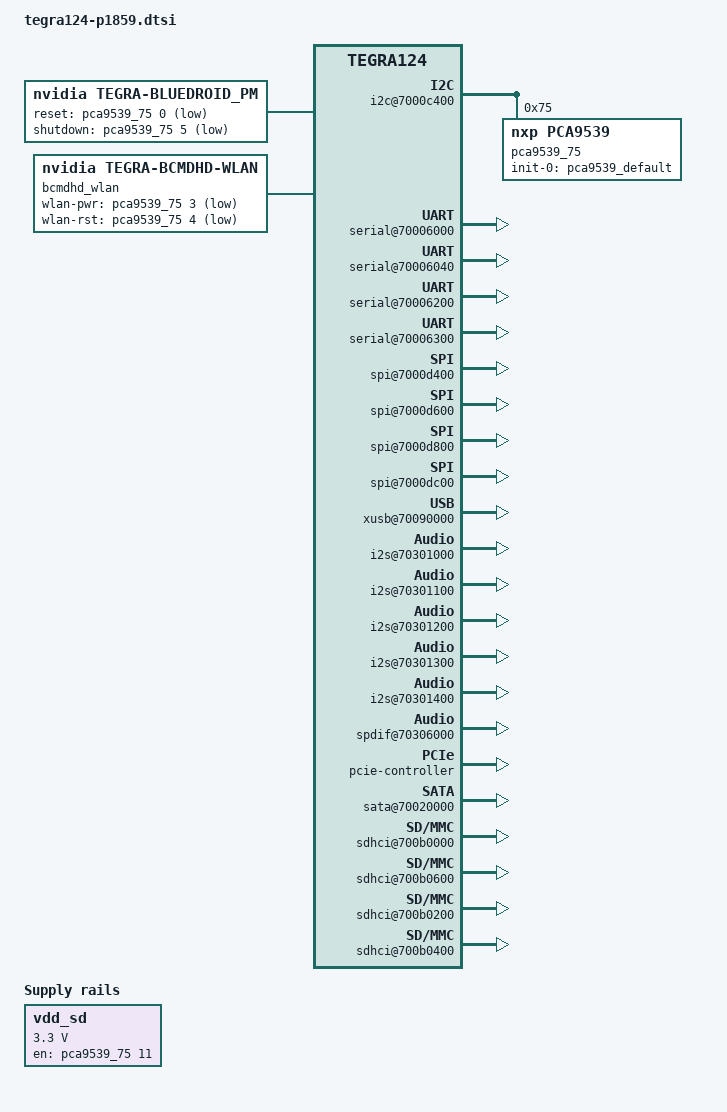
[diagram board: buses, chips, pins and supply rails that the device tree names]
/*
 * arch/arm/boot/dts/tegra124-p1859.dts
 *
 * Copyright (c) 2013-2014, NVIDIA CORPORATION.  All rights reserved.
 *
 * This program is free software; you can redistribute it and/or modify
 * it under the terms of the GNU General Public License as published by
 * the Free Software Foundation; version 2 of the License.
 *
 * This program is distributed in the hope that it will be useful, but WITHOUT
 * ANY WARRANTY; without even the implied warranty of MERCHANTABILITY or
 * FITNESS FOR A PARTICULAR PURPOSE.  See the GNU General Public License for
 * more details.
 *
 * You should have received a copy of the GNU General Public License along
 * with this program; if not, write to the Free Software Foundation, Inc.,
 * 51 Franklin Street, Fifth Floor, Boston, MA  02110-1301, USA.
 *
 */

/*
 * tegra124-p1859.dtsi is the board dtsi file representing the p1859
 * board. Since the same p1859 board is supported in multiple ways eg
 * ardbeg, virtual machines, p1859 linux etc, this file needs to be
 * included and then the required changes should be made in the
 * corresponding dts
 */

#include "tegra124-vcm30_t124.dtsi"
#include <tegra124-platforms/tegra124-p1859-gpio-default.dtsi>
#include <tegra124-platforms/tegra124-p1859-pinmux.dtsi>
#include <panel-a-edp-1080p-14-0.dtsi>
#include <tegra124-platforms/tegra124-vcm30-t124-hdmi.dtsi>

/ {
	#address-cells = <2>;
	#size-cells = <2>;

	host1x {
		sor {
			status = "okay";
			panel-a-edp-1080p-14-0 {
				disp-default-out {
					nvidia,out-max-pixclk = <3367>;
					nvidia,dither = <TEGRA_DC_ORDERED_DITHER>;
				};
			};
		};

		dpaux {
			status = "okay";
		};

		/* tegradc.0 */
		dc@54200000 {
			nvidia,dc-flags = <TEGRA_DC_FLAG_ENABLED>;
			nvidia,emc-clk-rate = <204000000>;
			nvidia,fb-bpp = <32>; /* bits per pixel */
			nvidia,cmu-enable = <1>;
			status = "okay";
		};

		/* tegradc.1 */
		dc@54240000 {
			nvidia,emc-clk-rate = <300000000>;
			nvidia,fb-bpp = <32>; /* bits per pixel */
			status = "okay";
		};
	};

	i2c@7000c400 {
		nvidia,clock-always-on;

		pca9539_75: pca9546@75 {
			compatible = "nxp,pca9539";
			gpio-controller;
			#gpio-cells = <2>;
			reg = <0x75>;
			gpio-init-names = "default";
			gpio-init-0 = <&pca9539_default>;
			pca9539_default: default {
				 gpio-output-high = <0 3 4 5 7 9 13 14 15>;
			 };
		};
	};

	regulators {
		compatible = "simple-bus";
		device_type = "fixed-regulators";
		#address-cells = <1>;
		#size-cells = <0>;

		vdd_sd: regulator@1 {
			compatible = "regulator-fixed-sync";
			regulator-name = "vddio_sd_slot-reg";
			regulator-min-microvolt = <3300000>;
			regulator-max-microvolt = <3300000>;
			gpio = <&pca9539_75 11 1>;
			enable-active-high;
		};
	};

	serial@70006000 {
		status = "okay";
	};

	serial@70006040 {
		status = "okay";
	};

	serial@70006200 {
		compatible = "nvidia,tegra20-uart";
		console-port;
		status = "okay";
	};

	serial@70006300 {
		status = "okay";
	};

	spi@7000d400 {
		status = "okay";
	};

	spi@7000d600 {
		status = "okay";
	};

	spi@7000d800 {
		status = "okay";
	};

	spi@7000dc00 {
		status = "okay";
	};

	xusb@70090000 {
		status = "okay";
	};

	ahub {
		status = "okay";

		i2s@70301000 {
			status = "okay";
		};
		i2s@70301100 {
			status = "okay";
		};
		i2s@70301200 {
			status = "okay";
		};
		i2s@70301300 {
			status = "okay";
		};
		i2s@70301400 {
			status = "okay";
		};
		spdif@70306000 {
			status = "okay";
		};
		amx@70303000 {
			status = "okay";
		};
		adx@70303800 {
			status = "okay";
		};
		amx@70303100 {
			status = "okay";
		};
		adx@70303900 {
			status = "okay";
		};
		dam@70302000 {
			status = "okay";
		};
		dam@70302200 {
			status = "okay";
		};
		dam@70302400 {
			status = "okay";
		};
		afc@70307000 {
			status = "okay";
		};
		afc@70307100 {
			status = "okay";
		};
		afc@70307200 {
			status = "okay";
		};
		afc@70307300 {
			status = "okay";
		};
		afc@70307400 {
			status = "okay";
		};
		afc@70307500 {
			status = "okay";
		};
	};

	pcie-controller {
		status = "okay";

		pci@1,0 {
			status = "okay";
		};

		pci@2,0 {
			status = "okay";
		};
	};

	sata@70020000 {
		status = "okay";
	};

	sdhci@700b0000 {
		status = "okay";
	};

	sdhci@700b0600 {
		status = "okay";
	};

	sdhci@700b0200 {
		status = "okay";
	};

	sdhci@700b0400 {
		vddio_sd_slot-supply = <&vdd_sd>;
		status = "okay";
	};

	snor {
		status = "okay";
	};

	bluedroid_pm {
		compatible = "nvidia,tegra-bluedroid_pm";
		id = <0>;
		bluedroid_pm,reset-gpio = <&pca9539_75 0 1>;
		bluedroid_pm,shutdown-gpio = <&pca9539_75 5 1>;
		status = "okay";
	};
	bcmdhd_wlan {
		compatible = "nvidia,tegra-bcmdhd-wlan";
		wlan-pwr-gpio = <&pca9539_75 3 1>;
		wlan-rst-gpio = <&pca9539_75 4 1>;
		status = "okay";
	};

	cpu_dfll_pmic_integration {
		pmic-i2c-address = <0x74>;
		pmic-i2c-voltage-register = <0x07>;
		i2c-fs-rate = <400000>;
		sel-conversion-slope = <1>;
	};
};
